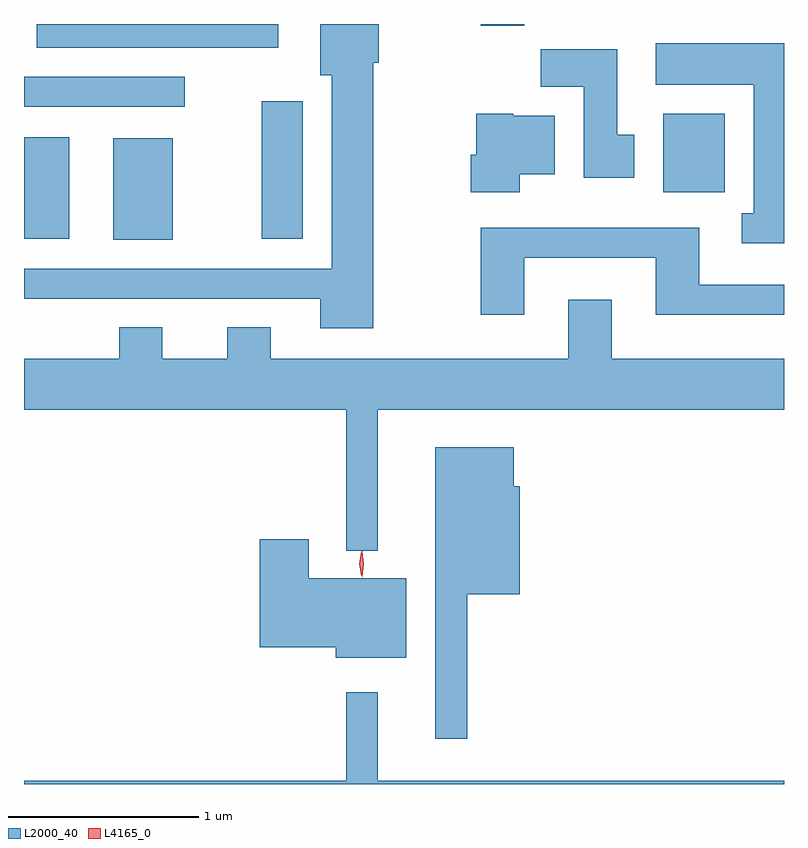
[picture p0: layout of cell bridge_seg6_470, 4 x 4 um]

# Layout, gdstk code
import gdstk
lib = gdstk.Library(unit=1e-6, precision=1e-09)
def R(c, l, rs):  # rectangles x0, y0, x1, y1
    for r in rs: c.add(gdstk.rectangle(r[:2], r[2:], *l))
def P(c, l, *ps):  # polygons
    for p in ps: c.add(gdstk.Polygon(p, *l))
L2000_40 = (2000, 40)
L4165_0 = (4165, 0)

bridge_seg6_470 = lib.new_cell('bridge_seg6_470')
R(bridge_seg6_470, L2000_40, [(763.206,1537.611,763.519,1538.144), (762.736,1537.616,762.974,1538.149), (763.986,1537.616,764.204,1538.339), (766.101,1537.861,766.424,1538.274), (762.736,1538.311,763.583,1538.469), (762.803,1538.621,764.073,1538.746), (765.141,1538.736,765.369,1538.746)])
P(bridge_seg6_470, L2000_40, [(764.574,1538.541),(764.604,1538.541),(764.604,1538.746),(764.296,1538.746),(764.296,1538.476),(764.356,1538.476),(764.356,1537.459),(762.736,1537.459),(762.736,1537.301),(764.296,1537.301),(764.296,1537.146),(764.574,1537.146)],
  [(766.736,1538.644),(766.061,1538.644),(766.061,1538.426),(766.576,1538.426),(766.576,1537.749),(766.513,1537.749),(766.513,1537.591),(766.736,1537.591)],
  [(765.949,1538.164),(765.859,1538.164),(765.859,1538.614),(765.456,1538.614),(765.456,1538.416),(765.681,1538.416),(765.681,1537.936),(765.949,1537.936)],
  [(765.344,1537.956),(765.529,1537.956),(765.529,1538.264),(765.31,1538.264),(765.31,1538.274),(765.116,1538.274),(765.116,1538.059),(765.086,1538.059),(765.086,1537.861),(765.344,1537.861)],
  [(765.369,1537.516),(766.061,1537.516),(766.061,1537.216),(766.736,1537.216),(766.736,1537.374),(766.289,1537.374),(766.289,1537.674),(765.141,1537.674),(765.141,1537.216),(765.369,1537.216)],
  [(764.599,1536.716),(766.736,1536.716),(766.736,1536.984),(765.829,1536.984),(765.829,1537.294),(765.601,1537.294),(765.601,1536.984),(764.034,1536.984),(764.034,1537.149),(763.806,1537.149),(763.806,1536.984),(763.464,1536.984),(763.464,1537.149),(763.236,1537.149),(763.236,1536.984),(762.736,1536.984),(762.736,1536.716),(764.431,1536.716),(764.431,1535.973),(764.599,1535.973)],
  [(765.069,1535.746),(765.344,1535.746),(765.344,1536.314),(765.314,1536.314),(765.314,1536.519),(764.901,1536.519),(764.901,1534.983),(765.069,1534.983)],
  [(764.749,1535.829),(764.234,1535.829),(764.234,1536.034),(763.976,1536.034),(763.976,1535.466),(764.376,1535.466),(764.376,1535.411),(764.749,1535.411)],
  [(766.736,1534.764),(764.599,1534.764),(764.599,1535.228),(764.431,1535.228),(764.431,1534.764),(762.736,1534.764),(762.736,1534.746),(766.736,1534.746)])
P(bridge_seg6_470, L4165_0, [(764.515,1535.833),(764.515,1535.834),(764.505,1535.902),(764.514,1535.97),(764.515,1535.97),(764.515,1535.97),(764.525,1535.902),(764.516,1535.834)],
  [(764.511,1535.841),(764.51,1535.842),(764.501,1535.904),(764.51,1535.967),(764.511,1535.967),(764.512,1535.967),(764.521,1535.904),(764.512,1535.842)])

lib.write_gds('bridge_seg6_470.gds')
